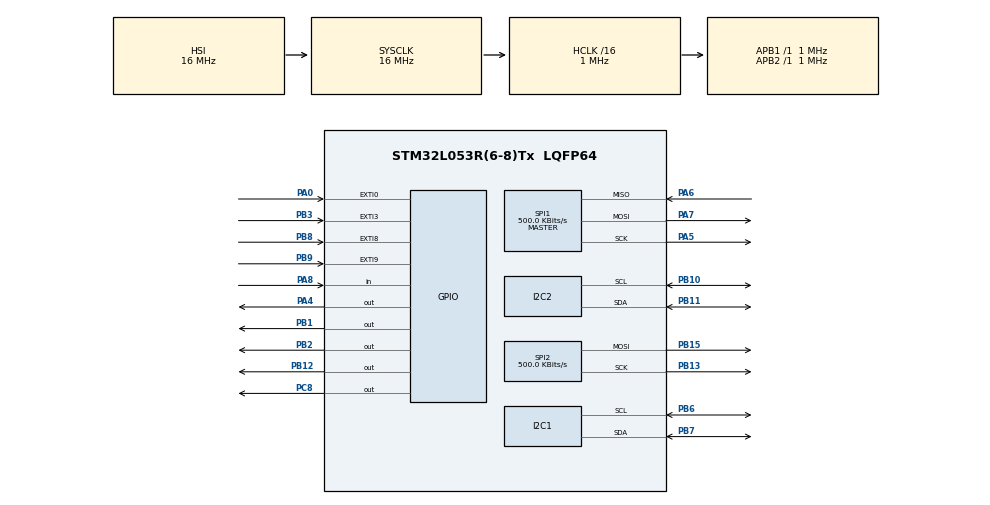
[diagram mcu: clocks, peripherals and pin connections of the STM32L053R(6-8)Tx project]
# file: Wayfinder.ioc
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I2C1.Timing=0x00000103
I2C2.Timing=0x00000103
Mcu.Family=STM32L0
Mcu.Name=STM32L053R(6-8)Tx
Mcu.Package=LQFP64
NVIC.EXTI0_1_IRQn=true\:0\:0\:false\:false\:true\:true\:true\:true
NVIC.EXTI2_3_IRQn=true\:0\:0\:false\:false\:true\:true\:true\:true
NVIC.EXTI4_15_IRQn=true\:0\:0\:false\:false\:true\:true\:true\:true
NVIC.RTC_IRQn=true\:0\:0\:false\:false\:true\:true\:true\:true
PA0.GPIO_ModeDefaultEXTI=GPIO_MODE_IT_FALLING
PA0.GPIO_PuPd=GPIO_PULLUP
PA0.Signal=GPXTI0
PA13.GPIO_Label=TMS
PA13.Mode=Serial_Wire
PA13.Signal=SYS_SWDIO
PA14.GPIO_Label=TCK
PA14.Mode=Serial_Wire
PA14.Signal=SYS_SWCLK
PA2.GPIO_Label=USART_TX
PA2.Signal=USART2_TX
PA3.GPIO_Label=USART_RX
PA3.Signal=USART2_RX
PA4.PinState=GPIO_PIN_SET
PA4.Signal=GPIO_Output
PA5.Mode=Full_Duplex_Master
PA5.Signal=SPI1_SCK
PA6.Mode=Full_Duplex_Master
PA6.Signal=SPI1_MISO
PA7.Mode=Full_Duplex_Master
PA7.Signal=SPI1_MOSI
PA8.GPIO_PuPd=GPIO_PULLUP
PA8.Signal=GPIO_Input
PB1.Signal=GPIO_Output
PB10.GPIO_Pu=GPIO_NOPULL
PB10.Mode=I2C
PB10.Signal=I2C2_SCL
PB11.GPIO_Pu=GPIO_NOPULL
PB11.Mode=I2C
PB11.Signal=I2C2_SDA
PB12.Signal=GPIO_Output
PB13.Mode=TX_Only_Simplex_Unidirect_Master
PB13.Signal=SPI2_SCK
PB15.Mode=TX_Only_Simplex_Unidirect_Master
PB15.Signal=SPI2_MOSI
PB2.Signal=GPIO_Output
PB3.GPIO_ModeDefaultEXTI=GPIO_MODE_IT_FALLING
PB3.GPIO_PuPd=GPIO_PULLUP
PB3.Signal=GPXTI3
PB6.Mode=I2C
PB6.Signal=I2C1_SCL
PB7.Mode=I2C
PB7.Signal=I2C1_SDA
PB8.GPIO_ModeDefaultEXTI=GPIO_MODE_IT_FALLING
PB8.GPIO_PuPd=GPIO_PULLUP
PB8.Signal=GPXTI8
PB9.GPIO_ModeDefaultEXTI=GPIO_MODE_IT_FALLING
PB9.GPIO_PuPd=GPIO_PULLUP
PB9.Signal=GPXTI9
PC13.Signal=RTC_TS
PC14-OSC32_IN.Mode=LSE-External-Oscillator
PC14-OSC32_IN.Signal=RCC_OSC32_IN
PC15-OSC32_OUT.Mode=LSE-External-Oscillator
PC15-OSC32_OUT.Signal=RCC_OSC32_OUT
PC8.Signal=GPIO_Output
PH0-OSC_IN.Signal=RCC_OSC_IN
PH1-OSC_OUT.Signal=RCC_OSC_OUT
ProjectManager.HeapSize=0x200
ProjectManager.StackSize=0x400
ProjectManager.TargetToolchain=STM32CubeIDE
RCC.AHBCLKDivider=RCC_SYSCLK_DIV16
RCC.AHBFreq_Value=1000000
RCC.APB1Freq_Value=1000000
RCC.APB1TimFreq_Value=1000000
RCC.APB2Freq_Value=1000000
RCC.APB2TimFreq_Value=1000000
RCC.HCLKFreq_Value=1000000
RCC.HSE_VALUE=8000000
RCC.HSI16_VALUE=16000000
RCC.HSI48_VALUE=48000000
RCC.HSI_VALUE=16000000
RCC.MSI_VALUE=2097000
RCC.RTCClockSelectionVirtual=RCC_RTCCLKSOURCE_LSE
RCC.SYSCLKFreq_VALUE=16000000
RCC.SYSCLKSource=RCC_SYSCLKSOURCE_HSI
RCC.VCOOutputFreq_Value=48000000
RTC.WakeUpClock-WakeUp=RTC_WAKEUPCLOCK_CK_SPRE_16BITS
SPI1.CalculateBaudRate=500.0 KBits/s
SPI1.Direction=SPI_DIRECTION_2LINES
SPI1.Mode=SPI_MODE_MASTER
SPI1.VirtualType=VM_MASTER
SPI2.CalculateBaudRate=500.0 KBits/s
SPI2.Direction=SPI_DIRECTION_2LINES
SPI2.Mode=SPI_MODE_MASTER
SPI2.VirtualType=VM_MASTER
STMicroelectronics.X-CUBE-MEMS1.11.3.0.BoardOoPartJjPressTempJjLPS22HH=SPI
STMicroelectronics.X-CUBE-MEMS1.11.3.0.BoardOoPartJjTempJjSTTS22H=I2C
VP_RTC_VS_RTC_Activate.Mode=RTC_Enabled
VP_RTC_VS_RTC_Calendar.Mode=RTC_Calendar
VP_RTC_VS_RTC_WakeUp_intern.Mode=WakeUp
VP_STMicroelectronics.X-CUBE-MEMS1_VS_BoardOoPartJjPressTemp_5.7.0_11.3.0.Mode=BoardOoPartJjPressTemp
VP_STMicroelectronics.X-CUBE-MEMS1_VS_BoardOoPartJjTemp_1.5.0_11.3.0.Mode=BoardOoPartJjTemp
board=NUCLEO-L053R8

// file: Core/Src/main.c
/* USER CODE BEGIN Header */
/**
  ******************************************************************************
  * @file           : main.c
  * @brief          : Main program body
  ******************************************************************************
  * @attention
  *
  * Copyright (c) 2025 STMicroelectronics.
  * All rights reserved.
  *
  * This software is licensed under terms that can be found in the LICENSE file
  * in the root directory of this software component.
  * If no LICENSE file comes with this software, it is provided AS-IS.
  *
  ******************************************************************************
  */
/* USER CODE END Header */
#include "main.h"

/* USER CODE BEGIN PTD */
typedef struct {
	uint8_t hours;
	uint8_t minutes;
	uint8_t seconds;

	uint8_t day;
	uint8_t month;
	uint16_t year;
} DateTime_t;

typedef enum {
	OFF,
	SET_TIME,
	CALIBRATION,
	TIME,
	COMPASS,
	INCLINE,
	PRESSURE,
	TEMPERATURE,
} Interface_State_t;

typedef enum {
	EDIT_MONTH,
	EDIT_DAY,
	EDIT_YEAR,
    EDIT_HOUR,
    EDIT_MINUTE,
    EDIT_SECOND,
} TimeEditField_t;

typedef enum {
	TEMPERATURE_FIELD,
	MAGNETOMETER_FIELD,
	ACCELEROMETER_FIELD,
	PRESSURE_FIELD,
} CalibrationEditField_t;

/* USER CODE END PTD */

I2C_HandleTypeDef hi2c1;
I2C_HandleTypeDef hi2c2;

RTC_HandleTypeDef hrtc;

SPI_HandleTypeDef hspi1;
SPI_HandleTypeDef hspi2;

/* USER CODE BEGIN PV */
static volatile uint32_t last_pa0_ms = 0;
static volatile uint32_t last_pb9_ms = 0;
static volatile uint32_t last_pb8_ms = 0;
static volatile uint32_t last_pb3_ms = 0;

C6DOFIMU13_HandleTypeDef h6dof;

LPS22HH_Object_t lps22hh;
STTS22H_Object_t stts22h;
bool isDisplayOn;

volatile bool rtc_tick_flag;
volatile bool power_button_flag;

Interface_State_t prev_state = SET_TIME;
Interface_State_t interface_state = OFF;

volatile TimeEditField_t time_edit_field = EDIT_MONTH;
DateTime_t edit_time;
float_t edit_temp;
volatile bool ui_dirty = true;
volatile bool edit_time_dirty = false;
volatile bool blink = false;

volatile CalibrationEditField_t calibration_field = TEMPERATURE_FIELD;

float_t mx_off = 16.75f;
float_t my_off = 9.85f;
float_t mz_off = -168.55f;
float_t sx = 73.05;
float_t sy = 70.6;

float_t temperature_offset = 0.0;
float_t magnetometer_offset = 0.0;
float_t accelerometer_offset = 0.0;
float_t pressure_offset = 0.0;

static float_t press_hist[SPARK_W];
static uint8_t press_head = 0;   // next write index
static uint8_t press_count = 0;  // how many valid samples (<= SPARK_W)

static float_t temp_hist[SPARK_W];
static uint8_t temp_head = 0;
static uint8_t temp_count = 0;

static float_t incline_hist[SPARK_W];
static uint8_t incline_head = 0;
static uint8_t incline_count = 0;

static int16_t press_scale_min = 260;
static int16_t press_scale_max = 1260;

static int16_t temp_scale_min = 24;
static int16_t temp_scale_max = 100;

static int16_t incline_scale_min = 0;
static int16_t incline_scale_max = 360;

extern uint8_t displayBuffer[1024];

/* USER CODE END PV */

void SystemClock_Config(void);
static void MX_GPIO_Init(void);
static void MX_I2C1_Init(void);
static void MX_RTC_Init(void);
static void MX_SPI1_Init(void);
static void MX_I2C2_Init(void);
static void MX_SPI2_Init(void);
/* USER CODE BEGIN PFP */
static bool is_leap_year(uint16_t year);
static uint8_t days_in_month(uint8_t month, uint16_t year);
static void clamp_day_to_month(DateTime_t *t);
static void IMU_Init(void);
static void Spark_Fill(float *hist, uint8_t *head, uint8_t *count, float v);
static void Spark_Push(float *hist, uint8_t *head, uint8_t *count, float v);
static void Spark_DrawLine(uint8_t x, uint8_t y, uint8_t w, uint8_t h, Interface_State_t state, const float *hist,uint8_t head, uint8_t count, uint8_t draw_box,uint8_t xstep);
void EnterSetTimeMode(void);
void RTC_GetDateTime(DateTime_t *dt);
HAL_StatusTypeDef RTC_CommitDateTime(const DateTime_t *dt);
void RTC_DisplayDateTime(DateTime_t *dt);
void RTC_DisplayEditDateTime(void);
void RTC_DisplayCalibrate(void);
void NextTimeField(void);
void IncrementTime(void);
void DecrementTime(void);
void AdjustOffset(float_t offset_delta);
void NextCalibrationField(void);
void Draw_Compass(float heading_deg);
void Draw_Incline(float incline_deg);
void ftoa(char* buf, float value, int decimals);
float Calculate_Altitude(float pressure_hpa);
float Celsius_To_Fahrenheit(float celsius_temperature);
/* USER CODE END PFP */

/* USER CODE BEGIN 0 */
static bool is_leap_year(uint16_t year)
{
    return ((year % 4u) == 0u && (year % 100u) != 0u) || ((year % 400u) == 0u);
}

static uint8_t days_in_month(uint8_t month, uint16_t year)
{
    static const uint8_t dim[12] = {31,28,31,30,31,30,31,31,30,31,30,31};
    if (month < 1 || month > 12) return 31;

    if (month == 2 && is_leap_year(year)) return 29;
    return dim[month - 1];
}

static void clamp_day_to_month(DateTime_t *t)
{
    uint8_t maxd = days_in_month(t->month, t->year);
    if (t->day < 1) t->day = 1;
    if (t->day > maxd) t->day = maxd;
}

static void IMU_Init(void) {
	C6DOFIMU13_Init(&h6dof, &hi2c1, C6DOFIMU13_DEV_ADDRESS_ACCEL_GND, C6DOFIMU13_DEV_ADDRESS_MAG);

	C6DOFIMU13_Accel_Init(&h6dof,
	                          C6DOFIMU13_ACCEL_SRTFR_RATE_32,
	                          C6DOFIMU13_ACCEL_OUTCFG_RANGE_16,
	                          C6DOFIMU13_ACCEL_OUTCFG_RES_14);

	C6DOFIMU13_Mag_Init(&h6dof,
	                        C6DOFIMU13_MAG_RES_15_BIT,
	                        C6DOFIMU13_MAG_OP_MODE_CONT,
	                        C6DOFIMU13_MAG_TEMP_MEAS_ON);
}

static void Spark_Fill(float *hist, uint8_t *head, uint8_t *count, float v)
{
    for (uint8_t i = 0; i < SPARK_W; i++) hist[i] = v;
    *head = 0;
    *count = SPARK_W;
}

static void Spark_Push(float *hist, uint8_t *head, uint8_t *count, float v)
{
    hist[*head] = v;
    *head = (uint8_t)((*head + 1u) % SPARK_W);
    if (*count < SPARK_W) (*count)++;
}

static void Spark_DrawLine(uint8_t x, uint8_t y, uint8_t w, uint8_t h, Interface_State_t state, const float *hist, uint8_t head, uint8_t count, uint8_t draw_box,uint8_t xstep)
{
    if (w == 0 || h == 0) return;

    ST7565_fillrect(x, y, w, h, WHITE);
    if (draw_box) ST7565_drawrect(x, y, w, h, BLACK);
    if (count < 2) return;

    // 1) Compute actual data min/max (for expand-only logic)
    float data_min =  1e30f;
    float data_max = -1e30f;

    for (uint8_t i = 0; i < count; i++) {
        uint8_t idx = (uint8_t)((head + SPARK_W - count + i) % SPARK_W);
        float v = hist[idx];
        if (v < data_min) data_min = v;
        if (v > data_max) data_max = v;
    }

    // 2) Pick the right standard range and persistent scale vars
    int16_t std_min_i16, std_max_i16;
    int16_t *scale_min_i16, *scale_max_i16;

    // Expand margin and relax step are in *your units*
    // (keep small; you can tune per-state)
    float expand_margin = 0.0f;
    int16_t relax_step_i16 = 0; // 0 = don't relax toward standard

    switch (state) {
        case PRESSURE:
            std_min_i16   = 260;
            std_max_i16   = 1260;
            scale_min_i16 = &press_scale_min;
            scale_max_i16 = &press_scale_max;

            expand_margin = 5.0f;       // e.g. 5 units of whatever your pressure units are
            relax_step_i16 = 0;         // set to 1..5 if you want it to drift back
            break;

        case TEMPERATURE:
            std_min_i16   = -1;
            std_max_i16   = 140;
            scale_min_i16 = &temp_scale_min;
            scale_max_i16 = &temp_scale_max;

            expand_margin = 1.0f;       // 1 degree margin
            relax_step_i16 = 0;
            break;

        default: // INCLINE
            std_min_i16   = 0;
            std_max_i16   = 360;
            scale_min_i16 = &incline_scale_min;
            scale_max_i16 = &incline_scale_max;

            expand_margin = 2.0f;       // a couple degrees
            relax_step_i16 = 0;
            break;
    }

    // 3) Optional relax back toward standard range
    // (Only matters if you allow expansion AND later want to shrink back)
    if (relax_step_i16 > 0) {
        if (*scale_min_i16 < std_min_i16) {
            int16_t next = (int16_t)(*scale_min_i16 + relax_step_i16);
            *scale_min_i16 = (next > std_min_i16) ? std_min_i16 : next;
        } else if (*scale_min_i16 > std_min_i16) {
            int16_t next = (int16_t)(*scale_min_i16 - relax_step_i16);
            *scale_min_i16 = (next < std_min_i16) ? std_min_i16 : next;
        }

        if (*scale_max_i16 < std_max_i16) {
            int16_t next = (int16_t)(*scale_max_i16 + relax_step_i16);
            *scale_max_i16 = (next > std_max_i16) ? std_max_i16 : next;
        } else if (*scale_max_i16 > std_max_i16) {
            int16_t next = (int16_t)(*scale_max_i16 - relax_step_i16);
            *scale_max_i16 = (next < std_max_i16) ? std_max_i16 : next;
        }
    } else {
        // If you want strictly fixed range, just force:
        // *scale_min_i16 = std_min_i16;
        // *scale_max_i16 = std_max_i16;
        //
        // If you want "fixed-unless-exceeded", leave them as-is.
    }

    // 4) Expand-only if exceeded (using data_min/data_max)
    // NOTE: only expand outward; never shrink here.
    /*
    if (data_min < (float)(*scale_min_i16)) {
        float new_min = data_min - expand_margin;
        if (new_min < -32768.0f) new_min = -32768.0f;
        *scale_min_i16 = (int16_t)new_min;
    }
    if (data_max > (float)(*scale_max_i16)) {
        float new_max = data_max + expand_margin;
        if (new_max > 32767.0f) new_max = 32767.0f;
        *scale_max_i16 = (int16_t)new_max;
    }
*/
    // 5) Use persistent scales for plotting (convert to float)
    float vmin = (float)(*scale_min_i16);
    float vmax = (float)(*scale_max_i16);

    float span = vmax - vmin;
    if (span < 1e-6f) span = 1e-6f;

    uint8_t prev_px = x;
    uint8_t prev_py = (uint8_t)(y + (h - 1));

    if (xstep == 0) xstep = 1;

    // How many points can fit so that the LAST point is at x+(w-1)
    uint8_t max_points = (uint8_t)(((w - 1) / xstep) + 1);
    if (max_points < 2) return;

    uint8_t n = count;
    if (n > max_points) n = max_points;
    if (n < 2) return;

    // compute start_x in signed math to avoid uint8 underflow
    int16_t x_span = (int16_t)(n - 1) * (int16_t)xstep;     // 0..(w-1)
    int16_t start_x_i16 = (int16_t)x + ((int16_t)(w - 1) - x_span);

    // clamp just in case
    if (start_x_i16 < (int16_t)x) start_x_i16 = (int16_t)x;
    uint8_t start_x = (uint8_t)start_x_i16;

    for (uint8_t i = 0; i < n; i++) {
        uint8_t src_i = (uint8_t)(count - n + i);
        uint8_t idx = (uint8_t)((head + SPARK_W - count + src_i) % SPARK_W);
        float v = hist[idx];

        // Clamp to range so it always stays inside the box
        if (v < vmin) v = vmin;
        if (v > vmax) v = vmax;

        float t = (v - vmin) / span; // 0..1

        int16_t yy = (int16_t)((float)y + t * (float)(h - 1));

        uint8_t px = (uint8_t)(start_x + (uint8_t)(i * xstep));
        uint8_t py = (yy < y) ? y : (yy >= (y + h) ? (uint8_t)(y + h - 1) : (uint8_t)yy);

        // Clamp px before drawing
        if (px < x) px = x;
        uint8_t right = (uint8_t)(x + w - 1);
        if (px > right) px = right;

        if (i > 0) ST7565_drawline(prev_px, prev_py, px, py, BLACK, 1);

        prev_px = px;
        prev_py = py;
    }
}

void EnterSetTimeMode(void)
{
    RTC_GetDateTime(&edit_time);   // load current RTC time
    time_edit_field = EDIT_MONTH;
    ui_dirty = true;
}

void RTC_GetDateTime(DateTime_t *dt) {
	RTC_TimeTypeDef rtcTime;
	RTC_DateTypeDef rtcDate;

	HAL_RTC_GetTime(&hrtc, &rtcTime, RTC_FORMAT_BIN);
	HAL_RTC_GetDate(&hrtc, &rtcDate, RTC_FORMAT_BIN);

    dt->hours   = rtcTime.Hours;
    dt->minutes = rtcTime.Minutes;
    dt->seconds = rtcTime.Seconds;

    dt->day   = rtcDate.Date;
    dt->month = rtcDate.Month;
    dt->year  = 2000 + rtcDate.Year;
}

HAL_StatusTypeDef RTC_CommitDateTime(const DateTime_t *dt) {
    RTC_TimeTypeDef time = {0};
    RTC_DateTypeDef date = {0};

    time.Hours = dt->hours;
    time.Minutes = dt->minutes;
    time.Seconds = dt->seconds;
    time.DayLightSaving = RTC_DAYLIGHTSAVING_NONE;
    time.StoreOperation = RTC_STOREOPERATION_RESET;

    uint16_t year = dt->year;

    if (year < YEAR_MIN) year = YEAR_MIN;
    if (year > YEAR_MAX) year = YEAR_MAX;

    date.Year = (uint8_t)(year - YEAR_MIN);
    date.Month = dt->month;
    date.Date  = dt->day;
    date.WeekDay = RTC_WEEKDAY_SUNDAY; // Placeholder

    if (HAL_RTC_SetTime(&hrtc, &time, RTC_FORMAT_BIN) != HAL_OK)
        return HAL_ERROR;

    if (HAL_RTC_SetDate(&hrtc, &date, RTC_FORMAT_BIN) != HAL_OK)
        return HAL_ERROR;

    return HAL_OK;
}

void RTC_DisplayDateTime(DateTime_t *dt)
{
    char time_str[16];
    char date_str[16];

    snprintf(time_str, sizeof(time_str), "%02u:%02u:%02u",
             (unsigned)(dt->hours   % 24),
             (unsigned)(dt->minutes % 60),
             (unsigned)(dt->seconds % 60));

    snprintf(date_str, sizeof(date_str), "%02u/%02u/%04u",
             (unsigned)(dt->month % 13),
             (unsigned)(dt->day   % 32),
             (unsigned)dt->year);

    memset(displayBuffer, 0, sizeof(displayBuffer));

    /* ---------- Centering using 6x10 step ---------- */
    uint16_t time_w = (uint16_t)strlen(time_str) * FONT8X13_STEP;
    uint16_t date_w = (uint16_t)strlen(date_str) * FONT8X13_STEP;

    uint8_t time_x = (time_w < LCD_WIDTH) ? (uint8_t)((LCD_WIDTH - time_w) / 2) : 0;
    uint8_t date_x = (date_w < LCD_WIDTH) ? (uint8_t)((LCD_WIDTH - date_w) / 2) : 0;

    uint8_t gap = 8;
    uint8_t block_h = 2 * FONT8X13_H + gap;
    uint8_t top_y   = (LCD_HEIGHT > block_h) ? (uint8_t)((LCD_HEIGHT - block_h) / 2) : 0;

    uint8_t time_y = top_y;
    uint8_t date_y = (uint8_t)(top_y + FONT6X10_H + gap);

    ST7565_drawstring_anywhere_8x13(time_x, time_y, time_str);
    ST7565_drawstring_anywhere_8x13(date_x, date_y, date_str);

    // if you want immediate refresh here:
    // updateDisplay();
}

void RTC_DisplayEditDateTime(void)
{
    char time_str[16];
    char date_str[16];

    snprintf(time_str, sizeof(time_str), "%02u:%02u:%02u",
             (unsigned)(edit_time.hours   % 24),
             (unsigned)(edit_time.minutes % 60),
             (unsigned)(edit_time.seconds % 60));

    snprintf(date_str, sizeof(date_str), "%02u/%02u/%04u",
             (unsigned)edit_time.month,
             (unsigned)edit_time.day,
             (unsigned)edit_time.year);

    const char *prompt = "Set Date/Time";

    memset(displayBuffer, 0, sizeof(displayBuffer));

    /* ---------- Centering (7x12 for ALL text) ---------- */
    uint16_t prompt_w = (uint16_t)strlen(prompt)   * FONT7X12_STEP;
    uint16_t time_w   = (uint16_t)strlen(time_str) * FONT7X12_STEP;
    uint16_t date_w   = (uint16_t)strlen(date_str) * FONT7X12_STEP;

    uint8_t prompt_x = (prompt_w < LCD_WIDTH) ? (uint8_t)((LCD_WIDTH - prompt_w) / 2) : 0;
    uint8_t time_x   = (time_w   < LCD_WIDTH) ? (uint8_t)((LCD_WIDTH - time_w)   / 2) : 0;
    uint8_t date_x   = (date_w   < LCD_WIDTH) ? (uint8_t)((LCD_WIDTH - date_w)   / 2) : 0;

    /* ---------- Spacing control ---------- */
    uint8_t prompt_gap = 10;  // visual gap between title and time
    uint8_t line_gap   = 6;   // gap between time and date

    uint8_t block_h = (uint8_t)(
        FONT7X12_H + prompt_gap +
        FONT7X12_H + line_gap +
        FONT7X12_H
    );

    /* ---------- Inverted Y layout ---------- */
    // Smaller y = visually LOWER
    uint8_t bottom_y = (LCD_HEIGHT > block_h)
                         ? (uint8_t)((LCD_HEIGHT - block_h) / 2)
                         : 0;

    uint8_t time_y   = bottom_y;
    uint8_t date_y   = (uint8_t)(time_y + FONT7X12_H + line_gap);
    uint8_t prompt_y = (uint8_t)(date_y + FONT7X12_H + prompt_gap);

    /* ---------- Draw ---------- */
    ST7565_drawstring_anywhere_7x12(prompt_x, prompt_y, prompt);
    ST7565_drawstring_anywhere_7x12(time_x,   time_y,   time_str);
    ST7565_drawstring_anywhere_7x12(date_x,   date_y,   date_str);

    /* ---------- Underline active field ---------- */
    if (blink) {
        uint8_t ul_x = 0, ul_y = 0, ul_w = 0;

        // Keep original behavior: visually DOWN = SMALLER y
        const uint8_t UL_BELOW_BASELINE = 1;

        uint8_t underline_y_time =
            (time_y > UL_BELOW_BASELINE) ? (uint8_t)(time_y - UL_BELOW_BASELINE) : time_y;

        uint8_t underline_y_date =
            (date_y > UL_BELOW_BASELINE) ? (uint8_t)(date_y - UL_BELOW_BASELINE) : date_y;

        switch (time_edit_field) {
        case EDIT_MONTH:
            ul_x = (uint8_t)(date_x + 0 * FONT7X12_STEP);
            ul_y = underline_y_date;
            ul_w = (uint8_t)(2 * FONT7X12_STEP);
            break;

        case EDIT_DAY:
            ul_x = (uint8_t)(date_x + 3 * FONT7X12_STEP);
            ul_y = underline_y_date;
            ul_w = (uint8_t)(2 * FONT7X12_STEP);
            break;

        case EDIT_YEAR:
            ul_x = (uint8_t)(date_x + 6 * FONT7X12_STEP);
            ul_y = underline_y_date;
            ul_w = (uint8_t)(4 * FONT7X12_STEP);
            break;

        case EDIT_HOUR:
            ul_x = (uint8_t)(time_x + 0 * FONT7X12_STEP);
            ul_y = underline_y_time;
            ul_w = (uint8_t)(2 * FONT7X12_STEP);
            break;

        case EDIT_MINUTE:
            ul_x = (uint8_t)(time_x + 3 * FONT7X12_STEP);
            ul_y = underline_y_time;
            ul_w = (uint8_t)(2 * FONT7X12_STEP);
            break;

        case EDIT_SECOND:
            ul_x = (uint8_t)(time_x + 6 * FONT7X12_STEP);
            ul_y = underline_y_time;
            ul_w = (uint8_t)(2 * FONT7X12_STEP);
            break;

        default:
            break;
        }

        if (ul_w > 0) {
            ST7565_drawline(
                ul_x,
                ul_y,
                (uint8_t)(ul_x + ul_w - 1),
                ul_y,
                BLACK,
                1
            );
        }
    }

    // updateDisplay(); // call if needed
}

void RTC_DisplayCalibrate(void)
{
    const char *title = "Calibration";

    const char *labels[4] = {
        "Temp.",
        "Compass",
        "Incline",
        "Press."
    };

    char vals[4][20]; // right-side strings (NO UNITS)

    // Build right-side strings
    {
        char tmp[20];

        ftoa(tmp, temperature_offset, 2);
        snprintf(vals[0], sizeof(vals[0]), "%s%cF", tmp, (char)DEGREE_CHAR);

        ftoa(tmp, magnetometer_offset, 2);
        snprintf(vals[1], sizeof(vals[1]), "%s%c ", tmp, (char)DEGREE_CHAR);

        ftoa(tmp, accelerometer_offset, 2);
        snprintf(vals[2], sizeof(vals[2]), "%s%c ", tmp, (char)DEGREE_CHAR);

        ftoa(tmp, pressure_offset, 2);
        snprintf(vals[3], sizeof(vals[3]), "%shPa", tmp);
    }

    memset(displayBuffer, 0, sizeof(displayBuffer));

    /* ---------- Layout ---------- */
    // Title SAME size as menu rows
    const uint8_t TITLE_H   = FONT7X12_H;
    const uint8_t TITLE_STEP= FONT7X12_STEP;

    const uint8_t ROW_H     = FONT7X12_H;
    const uint8_t ROW_STEP  = FONT7X12_STEP;

    const uint8_t LEFT_MARGIN  = 0;
    const uint8_t RIGHT_MARGIN = 30;

    const uint8_t split_x = 72; // prevent value/label collision

    // Title centered (7x12)
    uint16_t title_w = (uint16_t)strlen(title) * (uint16_t)TITLE_STEP;
    uint8_t  title_x = (title_w < LCD_WIDTH) ? (uint8_t)((LCD_WIDTH - title_w) / 2) : 0;

    // --------- IMPORTANT: your Y is visually inverted ---------
    // Bigger y appears higher on the screen.
    const uint8_t top_gap = 2;

    // Choose a row gap that fits
    uint8_t row_gap = 2;
    {
        uint8_t needed = (uint8_t)(TITLE_H + top_gap + 4 * ROW_H);
        if (LCD_HEIGHT > needed) {
            uint8_t leftover = (uint8_t)(LCD_HEIGHT - needed);
            row_gap = (uint8_t)(leftover / 3);
            if (row_gap > 10) row_gap = 10;
        }
    }

    // Title at top visually (large y in your coords)
    int16_t title_y_i16 = (int16_t)LCD_HEIGHT - (int16_t)TITLE_H;
    if (title_y_i16 < 0) title_y_i16 = 0;
    uint8_t title_y = (uint8_t)title_y_i16;

    // First menu row just below title visually => smaller y
    int16_t row0_y_i16 = (int16_t)title_y - (int16_t)top_gap - (int16_t)ROW_H;
    if (row0_y_i16 < 0) row0_y_i16 = 0;

    // Rows go downward visually => keep subtracting (smaller y)
    uint8_t row_y[4];
    for (uint8_t i = 0; i < 4; i++) {
        int16_t yi = row0_y_i16 - (int16_t)i * (int16_t)(ROW_H + row_gap);
        if (yi < 0) yi = 0;
        row_y[i] = (uint8_t)yi;
    }

    /* ---------- Draw ---------- */
    ST7565_drawstring_anywhere_7x12(title_x, title_y, title);

    for (uint8_t i = 0; i < 4; i++) {
        ST7565_drawstring_anywhere_7x12(LEFT_MARGIN, row_y[i], labels[i]);

        uint16_t vw = (uint16_t)strlen(vals[i]) * (uint16_t)ROW_STEP;
        int16_t vx  = (int16_t)LCD_WIDTH - (int16_t)vw - RIGHT_MARGIN;
        if (vx < split_x) vx = split_x;

        ST7565_drawstring_anywhere_7x12((uint8_t)vx, row_y[i], vals[i]);
    }

    /* ---------- Underline selected VALUE (your original behavior) ---------- */
    if (blink) {
        uint8_t idx = (calibration_field < 4) ? calibration_field : 0;

        const uint8_t UL_BELOW_BASELINE = 1;
        uint8_t ul_y = (row_y[idx] > UL_BELOW_BASELINE)
                         ? (uint8_t)(row_y[idx] - UL_BELOW_BASELINE)
                         : row_y[idx];

        uint16_t vw = (uint16_t)strlen(vals[idx]) * (uint16_t)ROW_STEP;
        int16_t vx  = (int16_t)LCD_WIDTH - (int16_t)vw - RIGHT_MARGIN;
        if (vx < split_x) vx = split_x;

        if (vw > 0 && vw < 255) {
            ST7565_drawline(
                (uint8_t)vx,
                ul_y,
                (uint8_t)((uint8_t)vx + (uint8_t)vw - 1),
                ul_y,
                BLACK,
                1
            );
        }
    }
}

void NextTimeField(void) {
    if (time_edit_field == EDIT_SECOND)
        time_edit_field = EDIT_MONTH;
    else
        time_edit_field++;

    ui_dirty = true;
}

void IncrementTime(void) {
    switch (time_edit_field) {

    case EDIT_MONTH:
        edit_time.month++;
        if (edit_time.month > 12)
            edit_time.month = 1;

        clamp_day_to_month(&edit_time);
        break;

    case EDIT_DAY:
    {
        uint8_t maxd = days_in_month(edit_time.month, edit_time.year);
        edit_time.day++;
        if (edit_time.day > maxd)
            edit_time.day = 1;
    }
    break;

    case EDIT_YEAR:
        edit_time.year = (edit_time.year >= YEAR_MAX) ? YEAR_MIN : (edit_time.year + 1);
        clamp_day_to_month((DateTime_t *)&edit_time);
        break;

    case EDIT_HOUR:
        edit_time.hours = (edit_time.hours + 1) % 24;
        break;

    case EDIT_MINUTE:
        edit_time.minutes = (edit_time.minutes + 1) % 60;
        break;

    case EDIT_SECOND:
        edit_time.seconds = (edit_time.seconds + 1) % 60;
        break;
    }
    edit_time_dirty = true;
    ui_dirty = true;
}

void DecrementTime(void) {
	switch (time_edit_field) {

	case EDIT_MONTH:
	    if (edit_time.month <= 1)
	        edit_time.month = 12;
	    else
	        edit_time.month--;

	    clamp_day_to_month(&edit_time);
	    break;

    case EDIT_DAY: {
        uint8_t maxd = days_in_month(edit_time.month, edit_time.year);
        edit_time.day = (edit_time.day <= 1) ? maxd : (edit_time.day - 1);
        break;
    }

    case EDIT_YEAR:
        edit_time.year = (edit_time.year <= YEAR_MIN) ? YEAR_MAX : (edit_time.year - 1);
        clamp_day_to_month((DateTime_t *)&edit_time);
        break;

	case EDIT_HOUR:
	    edit_time.hours = (edit_time.hours == 0) ? 23 : edit_time.hours - 1;
	    break;

	case EDIT_MINUTE:
	    edit_time.minutes = (edit_time.minutes == 0) ? 59 : edit_time.minutes - 1;
	    break;

	case EDIT_SECOND:
	    edit_time.seconds = (edit_time.seconds == 0) ? 59 : edit_time.seconds - 1;
	    break;
    }

    edit_time_dirty = true;
    ui_dirty = true;
}

void AdjustOffset(float_t offset_delta) {
	switch (calibration_field) {

	case TEMPERATURE_FIELD:
		temperature_offset += offset_delta;
		break;

	case MAGNETOMETER_FIELD:
		magnetometer_offset += offset_delta;
		break;

	case ACCELEROMETER_FIELD:
		accelerometer_offset += offset_delta;
		break;

	case PRESSURE_FIELD:
		pressure_offset += offset_delta;
		break;
	}
}

void NextCalibrationField(void) {
	calibration_field++;
	if (calibration_field >= 4) calibration_field = TEMPERATURE_FIELD;
}

void Draw_Compass(float heading_deg)
{
    // --- Layout: compass above, text below ---
    const uint8_t text_h   = 14;  // 7x12 font (12px) + spacing
    const uint8_t top_h    = (LCD_HEIGHT > text_h) ? (LCD_HEIGHT - text_h) : LCD_HEIGHT;

    // Center compass in the top region
    const uint8_t cx = (uint8_t)(LCD_WIDTH / 2);
    const uint8_t cy = (uint8_t)(top_h / 2);

    // Radius must fit inside top region (and screen width)
    uint8_t r = 15;
    if (cy > 1 && r > (uint8_t)(cy - 1)) r = (uint8_t)(cy - 1);
    // also avoid left/right clipping (very conservative)
    if (cx > 1 && r > (uint8_t)(cx - 1)) r = (uint8_t)(cx - 1);

    // Draw outer circle
    ST7565_drawcircle(cx, cy, r, BLACK);

    // Cardinal letters (assumes your stated Y-UP convention)
    ST7565_drawchar_anywhere(cx - 2,        cy + r + 1,  'N');  // above
    ST7565_drawchar_anywhere(cx + r + 3,    cy - 3,      'E');  // right
    ST7565_drawchar_anywhere(cx - 2,        cy - r - 9,  'S');  // below
    ST7565_drawchar_anywhere(cx - r - 9,    cy - 3,      'W');  // left

    // Needle math (0° points North)
    float angle = heading_deg * (3.14159265f / 180.0f);

    float fx = (float)cx + (float)r * sinf(angle);
    float fy = (float)cy + (float)r * cosf(angle);   // Y-UP as you wrote

    uint8_t x1 = (uint8_t)(fx + 0.5f);
    uint8_t y1 = (uint8_t)(fy + 0.5f);

    ST7565_drawline(cx, cy, x1, y1, BLACK, 2);

    // --- Heading text below the compass ---
    char degree_string[8];
    ftoa(degree_string, heading_deg, 1);

    char buff[16];
    snprintf(buff, sizeof(buff), "%s%c", degree_string, (char)DEGREE_CHAR);

    // Center the 7x12 text on the bottom row area.
    // 7px/char approx; adjust if your font differs.
    uint8_t text_w = (uint8_t)(strlen(buff) * 7);
    uint8_t tx = (text_w < LCD_WIDTH) ? (uint8_t)((LCD_WIDTH - text_w) / 2) : 0;
    uint8_t ty = (uint8_t)(LCD_HEIGHT - 12); // last 12px tall band

    ST7565_drawstring_anywhere_7x12(tx, ty, buff);
}

void Draw_Incline(float incline_deg)
{
    // --- Layout: indicator above, text below ---
    const uint8_t text_h   = 14;
    const uint8_t top_h    = (LCD_HEIGHT > text_h) ? (LCD_HEIGHT - text_h) : LCD_HEIGHT;

    const uint8_t cx = (uint8_t)(LCD_WIDTH / 2);
    const uint8_t cy = (uint8_t)(top_h / 2);

    uint8_t r = 15;
    if (cy > 1 && r > (uint8_t)(cy - 1)) r = (uint8_t)(cy - 1);
    if (cx > 1 && r > (uint8_t)(cx - 1)) r = (uint8_t)(cx - 1);

    // Draw reference circle (same as compass)
    ST7565_drawcircle(cx, cy, r, BLACK);

    // Draw horizontal reference line (0°)
    ST7565_drawline(cx - r, cy, cx + r, cy, BLACK, 1);

    // Clamp incline
    if (incline_deg < 0.0f)  incline_deg = 0.0f;
    if (incline_deg > 90.0f) incline_deg = 90.0f;

    // Same math style as compass
    float angle = incline_deg * (3.14159265f / 180.0f);

    // 0° = horizontal, 90° = vertical up
    float fx = (float)cx + (float)r * cosf(angle);
    float fy = (float)cy + (float)r * sinf(angle);

    uint8_t x1 = (uint8_t)(fx + 0.5f);
    uint8_t y1 = (uint8_t)(fy + 0.5f);

    ST7565_drawline(cx, cy, x1, y1, BLACK, 2);

    // --- Incline text below ---
    char degree_string[8];
    ftoa(degree_string, incline_deg, 1);

    char buff[16];
    snprintf(buff, sizeof(buff), "%s%c", degree_string, (char)DEGREE_CHAR);

    uint8_t text_w = (uint8_t)(strlen(buff) * 7);
    uint8_t tx = (text_w < LCD_WIDTH) ? (uint8_t)((LCD_WIDTH - text_w) / 2) : 0;
    uint8_t ty = (uint8_t)(LCD_HEIGHT - 12);

    ST7565_drawstring_anywhere_7x12(tx, ty, buff);
}

// Convert float to string with fixed number of decimals
// Example: ftoa(buf, 3.14159f, 3) → "3.142"
void ftoa(char *buf, float value, int decimals)
{
    // Handle negative numbers
    if (value < 0) {
        *buf++ = '-';
        value = -value;
    }

    // Extract integer part
    int int_part = (int)value;

    // Extract fractional part
    float remainder = value - (float)int_part;

    // Scale fractional part
    int scale = 1;
    for (int i = 0; i < decimals; i++)
        scale *= 10;

    int frac_part = (int)(remainder * scale + 0.5f);  // round correctly

    // Convert integer part
    sprintf(buf, "%d", int_part);   // uses ONLY %d → no float printf

    // Move buffer to end
    while (*buf != '\0') buf++;

    if (decimals > 0) {
        *buf++ = '.';

        // Zero padding for fractional part
        int pad = scale / 10;
        while (pad > 1 && frac_part < pad) {
            *buf++ = '0';
            pad /= 10;
        }

        // Convert fractional part
        sprintf(buf, "%d", frac_part);  // still only %d
    }
}

float Calculate_Altitude(float pressure_hpa) {
	float base = pressure_hpa / 1013.25;
	float exp = 0.190284;
	return (1 - pow(base, exp)) * 145366.45;
}

float Celsius_To_Fahrenheit(float celsius_temperature) {
	return celsius_temperature * 1.8 + 32;
}

/* USER CODE END 0 */

int main(void)
{

  /* MCU Configuration--------------------------------------------------------*/

  /* Reset of all peripherals, Initializes the Flash interface and the Systick. */
  HAL_Init();

  /* Configure the system clock */
  SystemClock_Config();

  /* Initialize all configured peripherals */
  MX_GPIO_Init();
  MX_I2C1_Init();
  MX_RTC_Init();
  MX_SPI1_Init();
  MX_I2C2_Init();
  MX_SPI2_Init();
  /* USER CODE BEGIN 2 */

  // MC6470 Init
  IMU_Init();

  // LPS22HH Init
  const float_t lps22h_odr = 1.0f;
  int32_t lps22hh_status = LPS22HH_OK;

  do {
	  if (LPS22HH_BusIO_Register_SPI(&lps22hh) != LPS22HH_OK) break;
	  if ((lps22hh_status = LPS22HH_Init(&lps22hh)) != LPS22HH_OK) break;
      if ((lps22hh_status = LPS22HH_TEMP_Disable(&lps22hh)) != LPS22HH_OK) break;
      if ((lps22hh_status = LPS22HH_PRESS_Enable(&lps22hh)) != LPS22HH_OK) break;
      if ((lps22hh_status = LPS22HH_PRESS_SetOutputDataRate(&lps22hh, lps22h_odr)) != LPS22HH_OK) break;
  } while (0);

  // STTS22H Init
  const float_t stts22h_odr = 1.0f;
  int32_t stts22h_status = STTS22H_OK;

  do {
      if ((stts22h_status = STTS22H_BusIO_Register_I2C(&stts22h)) != STTS22H_OK) break;
      if ((stts22h_status = STTS22H_Init(&stts22h)) != STTS22H_OK) break;
      if ((stts22h_status = STTS22H_TEMP_Enable(&stts22h)) != STTS22H_OK) break;
      if ((stts22h_status = STTS22H_TEMP_SetOutputDataRate(&stts22h, stts22h_odr)) != STTS22H_OK) break;
  } while (0);

  // LCD Init
  ST7565_init();
  ST7565_command(CMD_DISPLAY_OFF);
  ST7565_clear();
  updateDisplay();
  isDisplayOn = false;

  /* USER CODE END 2 */

  /* Infinite loop */
  /* USER CODE BEGIN WHILE */
  while (1)
  {
      /* ---------- Power button handling ---------- */
	  if (power_button_flag) {
	      power_button_flag = 0;

	      if (interface_state == OFF) {
	          // Turn display on and go to a real screen
	    	  ST7565_on();
	    	  isDisplayOn = true;

	          interface_state = TIME;
	          ui_dirty = true;
	      } else {
	          // Turn display off and enter OFF state
	    	  ST7565_off();
	    	  isDisplayOn = false;

	          prev_state = interface_state;  // remember where we were
	          interface_state = OFF;
	          ui_dirty = false;              // no need to redraw while off
	      }
	  }

      /* ---------- 1 Hz tick handling (NO drawing here) ---------- */
      if (rtc_tick_flag) {
          rtc_tick_flag = 0;

          blink = !blink;

          // Refresh screens that need periodic updates
          if (interface_state == TIME) {
              ui_dirty = true;               // update time once per second
          } else if (interface_state == SET_TIME || interface_state == CALIBRATION) {
              ui_dirty = true;               // blink underline/cursor
          }
          else if (interface_state == PRESSURE || interface_state == TEMPERATURE) ui_dirty = true;
      }

      static uint32_t next_compass_ms = 0;
      static uint32_t next_incline_ms = 0;

      if (interface_state == COMPASS)
      {
          uint32_t now = HAL_GetTick();

          // initialize on first entry (or if it was 0)
          if (next_compass_ms == 0) next_compass_ms = now;

          if ((int32_t)(now - next_compass_ms) >= 0)
          {
              next_compass_ms += COMPASS_PERIOD_MS;
              ui_dirty = true;  // triggers COMPASS redraw at ~20 Hz
          }
      } else if (interface_state == INCLINE) {
    	    uint32_t now = HAL_GetTick();
    	    if (next_incline_ms == 0) next_incline_ms = now;

    	    if ((int32_t)(now - next_incline_ms) >= 0)
    	    {
    	        next_incline_ms += INCLINE_PERIOD_MS;
    	        ui_dirty = true;
    	    }
      }
      else if (interface_state != OFF)
      {
          // reset so when you re-enter COMPASS it updates immediately
          next_compass_ms = 0;
          next_incline_ms = 0;
      }

      /* ---------- Draw only when dirty ---------- */
      if (ui_dirty) {
          ui_dirty = false;

          switch (interface_state) {

          case SET_TIME:
              // RTC_DisplayEditDateTime() should only draw to displayBuffer.
              // If you want blink control, have it use the global 'blink' flag.
              RTC_DisplayEditDateTime();
              updateDisplay();
              break;

          case TIME: {
              DateTime_t now;
              RTC_GetDateTime(&now);

              // RTC_DisplayDateTime() should only draw to displayBuffer.
              RTC_DisplayDateTime(&now);
              updateDisplay();
              break;
          }

          case PRESSURE: {
        	  char pressure_display_string[37];
        	  float_t pressure;

        	  if (LPS22HH_PRESS_GetPressure(&lps22hh, &pressure) == LPS22HH_OK) {
        		  float v = pressure + pressure_offset;

        		  if (press_count == 0) {
        		        // Prefill so the sparkline is immediately fully drawn (flat line)
        		        Spark_Fill(press_hist, &press_head, &press_count, v);
        		  }

        		  Spark_Push(press_hist, &press_head, &press_count, v);
        	      char pressure_string[20];
        	      ftoa(pressure_string, pressure + pressure_offset, 2); // e.g. "1013.25"

        	      snprintf(pressure_display_string, sizeof(pressure_display_string),
        	               "%s HPa", pressure_string);
        	  } else {
        	      snprintf(pressure_display_string, sizeof(pressure_display_string),
        	               "Pressure Failure");
        	  }

              memset(displayBuffer, 0, sizeof(displayBuffer));
              ST7565_drawstring_anywhere_7x12(
                  (LCD_WIDTH - strlen(pressure_display_string) * 7) / 2,
                  LCD_HEIGHT - 16,
                  pressure_display_string
              );

              Spark_DrawLine(0, 0, SPARK_W, SPARK_H, PRESSURE, press_hist, press_head, press_count, 1, 8);

              updateDisplay();
              break;
          }

          case CALIBRATION: {
        	  RTC_DisplayCalibrate();
        	  updateDisplay();
        	  break;
          }

          case TEMPERATURE: {
        	  char temperature_display_string[38];
        	  float temperature;

        	  if (STTS22H_TEMP_GetTemperature(&stts22h, &temperature) == STTS22H_OK) {
        		  temperature = Celsius_To_Fahrenheit(temperature);
        		  float v = temperature + temperature_offset;

        		  if (temp_count == 0) {
        			  // Prefill so the sparkline is immediately fully drawn (flat line)
        			  Spark_Fill(temp_hist, &temp_head, &temp_count, v);
        		  }

        	      Spark_Push(temp_hist, &temp_head, &temp_count, v);
        	      char temperature_string[20];
        	      ftoa(temperature_string, temperature + temperature_offset, 2);   // e.g. "23.45"

        	      snprintf(temperature_display_string, sizeof(temperature_display_string),
        	               "%s%cF", temperature_string, (char)DEGREE_CHAR);
        	  } else {
        	      snprintf(temperature_display_string, sizeof(temperature_display_string),
        	               "Temperature Failure");
        	  }

              memset(displayBuffer, 0, sizeof(displayBuffer));
              ST7565_drawstring_anywhere_7x12(
                  (LCD_WIDTH - strlen(temperature_display_string) * 7) / 2,
                  LCD_HEIGHT - 16,
                  temperature_display_string
              );

              Spark_DrawLine(0, 0, SPARK_W, SPARK_H, TEMPERATURE, temp_hist, temp_head, temp_count, 1, 8);

              updateDisplay();
              break;
          }

          case COMPASS: {
              float ax, ay, az;
              float mx, my, mz;

              memset(displayBuffer, 0, sizeof(displayBuffer));

              if (C6DOFIMU13_Accel_GetXYZ(&h6dof, &ax, &ay, &az) == HAL_OK &&
                  C6DOFIMU13_Mag_GetXYZ(&h6dof, &mx, &my, &mz) == HAL_OK)
              {

                  // Center the horizontal field vector
                  float mx_c = (mx - mx_off);
                  float my_c = (my - my_off);

                  // Heading (using your chosen convention atan2(my, -mx))
                  float heading_rad = atan2f(my_c, mx_c);
                  float heading_deg = heading_rad * (180.0f / 3.14159265f) + magnetometer_offset;

                  if (heading_deg < 0.0f) heading_deg += 360.0f;
                  if (heading_deg >= 360.0f) heading_deg -= 360.0f;

                  // Draw compass into displayBuffer only
                  Draw_Compass(heading_deg);
              }
              else
              {
                  const char *IMU_error = "IMU Failure";
                  ST7565_drawstring_anywhere(
                      (LCD_WIDTH / 2) - ((strlen(IMU_error) / 2) * 6),
                      27,
                      (char*)IMU_error
                  );
              }

              updateDisplay();
              break;
          }

          case INCLINE: {
        	  float ax, ay, az;

        	  memset(displayBuffer, 0, sizeof(displayBuffer));

        	  if (C6DOFIMU13_Accel_GetXYZ(&h6dof, &ax, &ay, &az) == HAL_OK) {
        		  float incline_rad = fabsf(atan2f(ax, sqrtf(ay*ay + az*az)));
        		  float incline_deg = fabsf(incline_rad * (180.0f / 3.14159265f)); // need to add offset still
        		  Draw_Incline(incline_deg);
        	  } else {
                  const char *IMU_error = "IMU Failure";
                  ST7565_drawstring_anywhere(
                      (LCD_WIDTH / 2) - ((strlen(IMU_error) / 2) * 6),
                      27,
                      (char*)IMU_error
                  );
              }

        	  updateDisplay();
        	  break;
          }

          default:
              break;
          }
      }

    /* USER CODE END WHILE */

  }
}

void SystemClock_Config(void)
{
  RCC_OscInitTypeDef RCC_OscInitStruct = {0};
  RCC_ClkInitTypeDef RCC_ClkInitStruct = {0};
  RCC_PeriphCLKInitTypeDef PeriphClkInit = {0};

  /** Configure the main internal regulator output voltage
  */
  __HAL_PWR_VOLTAGESCALING_CONFIG(PWR_REGULATOR_VOLTAGE_SCALE1);

  /** Configure LSE Drive Capability
  */
  HAL_PWR_EnableBkUpAccess();
  __HAL_RCC_LSEDRIVE_CONFIG(RCC_LSEDRIVE_LOW);

  /** Initializes the RCC Oscillators according to the specified parameters
  * in the RCC_OscInitTypeDef structure.
  */
  RCC_OscInitStruct.OscillatorType = RCC_OSCILLATORTYPE_HSI|RCC_OSCILLATORTYPE_LSE;
  RCC_OscInitStruct.LSEState = RCC_LSE_ON;
  RCC_OscInitStruct.HSIState = RCC_HSI_ON;
  RCC_OscInitStruct.HSICalibrationValue = RCC_HSICALIBRATION_DEFAULT;
  RCC_OscInitStruct.PLL.PLLState = RCC_PLL_NONE;
  if (HAL_RCC_OscConfig(&RCC_OscInitStruct) != HAL_OK)
  {
    Error_Handler();
  }

  /** Initializes the CPU, AHB and APB buses clocks
  */
  RCC_ClkInitStruct.ClockType = RCC_CLOCKTYPE_HCLK|RCC_CLOCKTYPE_SYSCLK
                              |RCC_CLOCKTYPE_PCLK1|RCC_CLOCKTYPE_PCLK2;
  RCC_ClkInitStruct.SYSCLKSource = RCC_SYSCLKSOURCE_HSI;
  RCC_ClkInitStruct.AHBCLKDivider = RCC_SYSCLK_DIV16;
  RCC_ClkInitStruct.APB1CLKDivider = RCC_HCLK_DIV1;
  RCC_ClkInitStruct.APB2CLKDivider = RCC_HCLK_DIV1;

  if (HAL_RCC_ClockConfig(&RCC_ClkInitStruct, FLASH_LATENCY_0) != HAL_OK)
  {
    Error_Handler();
  }
  PeriphClkInit.PeriphClockSelection = RCC_PERIPHCLK_I2C1|RCC_PERIPHCLK_RTC;
  PeriphClkInit.I2c1ClockSelection = RCC_I2C1CLKSOURCE_PCLK1;
  PeriphClkInit.RTCClockSelection = RCC_RTCCLKSOURCE_LSE;
  if (HAL_RCCEx_PeriphCLKConfig(&PeriphClkInit) != HAL_OK)
  {
    Error_Handler();
  }
}

static void MX_I2C1_Init(void)
{

  hi2c1.Instance = I2C1;
  hi2c1.Init.Timing = 0x00000103;
  hi2c1.Init.OwnAddress1 = 0;
  hi2c1.Init.AddressingMode = I2C_ADDRESSINGMODE_7BIT;
  hi2c1.Init.DualAddressMode = I2C_DUALADDRESS_DISABLE;
  hi2c1.Init.OwnAddress2 = 0;
  hi2c1.Init.OwnAddress2Masks = I2C_OA2_NOMASK;
  hi2c1.Init.GeneralCallMode = I2C_GENERALCALL_DISABLE;
  hi2c1.Init.NoStretchMode = I2C_NOSTRETCH_DISABLE;
  if (HAL_I2C_Init(&hi2c1) != HAL_OK)
  {
    Error_Handler();
  }

  /** Configure Analogue filter
  */
  if (HAL_I2CEx_ConfigAnalogFilter(&hi2c1, I2C_ANALOGFILTER_ENABLE) != HAL_OK)
  {
    Error_Handler();
  }

  /** Configure Digital filter
  */
  if (HAL_I2CEx_ConfigDigitalFilter(&hi2c1, 0) != HAL_OK)
  {
    Error_Handler();
  }

}

static void MX_I2C2_Init(void)
{

  hi2c2.Instance = I2C2;
  hi2c2.Init.Timing = 0x00000103;
  hi2c2.Init.OwnAddress1 = 0;
  hi2c2.Init.AddressingMode = I2C_ADDRESSINGMODE_7BIT;
  hi2c2.Init.DualAddressMode = I2C_DUALADDRESS_DISABLE;
  hi2c2.Init.OwnAddress2 = 0;
  hi2c2.Init.OwnAddress2Masks = I2C_OA2_NOMASK;
  hi2c2.Init.GeneralCallMode = I2C_GENERALCALL_DISABLE;
  hi2c2.Init.NoStretchMode = I2C_NOSTRETCH_DISABLE;
  if (HAL_I2C_Init(&hi2c2) != HAL_OK)
  {
    Error_Handler();
  }

  /** Configure Analogue filter
  */
  if (HAL_I2CEx_ConfigAnalogFilter(&hi2c2, I2C_ANALOGFILTER_ENABLE) != HAL_OK)
  {
    Error_Handler();
  }

  /** Configure Digital filter
  */
  if (HAL_I2CEx_ConfigDigitalFilter(&hi2c2, 0) != HAL_OK)
  {
    Error_Handler();
  }

}

static void MX_RTC_Init(void)
{

  RTC_TimeTypeDef sTime = {0};
  RTC_DateTypeDef sDate = {0};

  /** Initialize RTC Only
  */
  hrtc.Instance = RTC;
  hrtc.Init.HourFormat = RTC_HOURFORMAT_24;
  hrtc.Init.AsynchPrediv = 127;
  hrtc.Init.SynchPrediv = 255;
  hrtc.Init.OutPut = RTC_OUTPUT_DISABLE;
  hrtc.Init.OutPutRemap = RTC_OUTPUT_REMAP_NONE;
  hrtc.Init.OutPutPolarity = RTC_OUTPUT_POLARITY_HIGH;
  hrtc.Init.OutPutType = RTC_OUTPUT_TYPE_OPENDRAIN;
  if (HAL_RTC_Init(&hrtc) != HAL_OK)
  {
    Error_Handler();
  }

  /** Initialize RTC and set the Time and Date
  */
  sTime.Hours = 0x0;
  sTime.Minutes = 0x0;
  sTime.Seconds = 0x0;
  sTime.DayLightSaving = RTC_DAYLIGHTSAVING_NONE;
  sTime.StoreOperation = RTC_STOREOPERATION_RESET;
  if (HAL_RTC_SetTime(&hrtc, &sTime, RTC_FORMAT_BCD) != HAL_OK)
  {
    Error_Handler();
  }
  sDate.WeekDay = RTC_WEEKDAY_MONDAY;
  sDate.Month = RTC_MONTH_JANUARY;
  sDate.Date = 0x1;
  sDate.Year = 0x0;

  if (HAL_RTC_SetDate(&hrtc, &sDate, RTC_FORMAT_BCD) != HAL_OK)
  {
    Error_Handler();
  }

  /** Enable the WakeUp
  */
  if (HAL_RTCEx_SetWakeUpTimer_IT(&hrtc, 0, RTC_WAKEUPCLOCK_CK_SPRE_16BITS) != HAL_OK)
  {
    Error_Handler();
  }

}

static void MX_SPI1_Init(void)
{

  /* SPI1 parameter configuration*/
  hspi1.Instance = SPI1;
  hspi1.Init.Mode = SPI_MODE_MASTER;
  hspi1.Init.Direction = SPI_DIRECTION_2LINES;
  hspi1.Init.DataSize = SPI_DATASIZE_8BIT;
  hspi1.Init.CLKPolarity = SPI_POLARITY_LOW;
  hspi1.Init.CLKPhase = SPI_PHASE_1EDGE;
  hspi1.Init.NSS = SPI_NSS_SOFT;
  hspi1.Init.BaudRatePrescaler = SPI_BAUDRATEPRESCALER_2;
  hspi1.Init.FirstBit = SPI_FIRSTBIT_MSB;
  hspi1.Init.TIMode = SPI_TIMODE_DISABLE;
  hspi1.Init.CRCCalculation = SPI_CRCCALCULATION_DISABLE;
  hspi1.Init.CRCPolynomial = 7;
  if (HAL_SPI_Init(&hspi1) != HAL_OK)
  {
    Error_Handler();
  }

}

static void MX_SPI2_Init(void)
{

  /* SPI2 parameter configuration*/
  hspi2.Instance = SPI2;
  hspi2.Init.Mode = SPI_MODE_MASTER;
  hspi2.Init.Direction = SPI_DIRECTION_2LINES;
  hspi2.Init.DataSize = SPI_DATASIZE_8BIT;
  hspi2.Init.CLKPolarity = SPI_POLARITY_LOW;
  hspi2.Init.CLKPhase = SPI_PHASE_1EDGE;
  hspi2.Init.NSS = SPI_NSS_SOFT;
  hspi2.Init.BaudRatePrescaler = SPI_BAUDRATEPRESCALER_2;
  hspi2.Init.FirstBit = SPI_FIRSTBIT_MSB;
  hspi2.Init.TIMode = SPI_TIMODE_DISABLE;
  hspi2.Init.CRCCalculation = SPI_CRCCALCULATION_DISABLE;
  hspi2.Init.CRCPolynomial = 7;
  if (HAL_SPI_Init(&hspi2) != HAL_OK)
  {
    Error_Handler();
  }

}

static void MX_GPIO_Init(void)
{
  GPIO_InitTypeDef GPIO_InitStruct = {0};

  /* GPIO Ports Clock Enable */
  __HAL_RCC_GPIOC_CLK_ENABLE();
  __HAL_RCC_GPIOH_CLK_ENABLE();
  __HAL_RCC_GPIOA_CLK_ENABLE();
  __HAL_RCC_GPIOB_CLK_ENABLE();

  /*Configure GPIO pin Output Level */
  HAL_GPIO_WritePin(GPIOA, GPIO_PIN_4, GPIO_PIN_SET);

  /*Configure GPIO pin Output Level */
  HAL_GPIO_WritePin(GPIOB, GPIO_PIN_1|GPIO_PIN_2|GPIO_PIN_12, GPIO_PIN_RESET);

  /*Configure GPIO pin Output Level */
  HAL_GPIO_WritePin(GPIOC, GPIO_PIN_8, GPIO_PIN_RESET);

  /*Configure GPIO pin : PA0 */
  GPIO_InitStruct.Pin = GPIO_PIN_0;
  GPIO_InitStruct.Mode = GPIO_MODE_IT_FALLING;
  GPIO_InitStruct.Pull = GPIO_PULLUP;
  HAL_GPIO_Init(GPIOA, &GPIO_InitStruct);

  /*Configure GPIO pins : USART_TX_Pin USART_RX_Pin */
  GPIO_InitStruct.Pin = USART_TX_Pin|USART_RX_Pin;
  GPIO_InitStruct.Mode = GPIO_MODE_AF_PP;
  GPIO_InitStruct.Pull = GPIO_NOPULL;
  GPIO_InitStruct.Speed = GPIO_SPEED_FREQ_VERY_HIGH;
  GPIO_InitStruct.Alternate = GPIO_AF4_USART2;
  HAL_GPIO_Init(GPIOA, &GPIO_InitStruct);

  /*Configure GPIO pin : PA4 */
  GPIO_InitStruct.Pin = GPIO_PIN_4;
  GPIO_InitStruct.Mode = GPIO_MODE_OUTPUT_PP;
  GPIO_InitStruct.Pull = GPIO_NOPULL;
  GPIO_InitStruct.Speed = GPIO_SPEED_FREQ_LOW;
  HAL_GPIO_Init(GPIOA, &GPIO_InitStruct);

  /*Configure GPIO pins : PB1 PB2 PB12 */
  GPIO_InitStruct.Pin = GPIO_PIN_1|GPIO_PIN_2|GPIO_PIN_12;
  GPIO_InitStruct.Mode = GPIO_MODE_OUTPUT_PP;
  GPIO_InitStruct.Pull = GPIO_NOPULL;
  GPIO_InitStruct.Speed = GPIO_SPEED_FREQ_LOW;
  HAL_GPIO_Init(GPIOB, &GPIO_InitStruct);

  /*Configure GPIO pin : PC8 */
  GPIO_InitStruct.Pin = GPIO_PIN_8;
  GPIO_InitStruct.Mode = GPIO_MODE_OUTPUT_PP;
  GPIO_InitStruct.Pull = GPIO_NOPULL;
  GPIO_InitStruct.Speed = GPIO_SPEED_FREQ_LOW;
  HAL_GPIO_Init(GPIOC, &GPIO_InitStruct);

  /*Configure GPIO pin : PA8 */
  GPIO_InitStruct.Pin = GPIO_PIN_8;
  GPIO_InitStruct.Mode = GPIO_MODE_INPUT;
  GPIO_InitStruct.Pull = GPIO_PULLUP;
  HAL_GPIO_Init(GPIOA, &GPIO_InitStruct);

  /*Configure GPIO pins : PB3 PB8 PB9 */
  GPIO_InitStruct.Pin = GPIO_PIN_3|GPIO_PIN_8|GPIO_PIN_9;
  GPIO_InitStruct.Mode = GPIO_MODE_IT_FALLING;
  GPIO_InitStruct.Pull = GPIO_PULLUP;
  HAL_GPIO_Init(GPIOB, &GPIO_InitStruct);

  /* EXTI interrupt init*/
  HAL_NVIC_SetPriority(EXTI0_1_IRQn, 0, 0);
  HAL_NVIC_EnableIRQ(EXTI0_1_IRQn);

  HAL_NVIC_SetPriority(EXTI2_3_IRQn, 0, 0);
  HAL_NVIC_EnableIRQ(EXTI2_3_IRQn);

  HAL_NVIC_SetPriority(EXTI4_15_IRQn, 0, 0);
  HAL_NVIC_EnableIRQ(EXTI4_15_IRQn);

}

/* USER CODE BEGIN 4 */
void HAL_RTCEx_WakeUpTimerEventCallback(RTC_HandleTypeDef *hrtc) {
	rtc_tick_flag = true;
}

void HAL_GPIO_EXTI_Callback(uint16_t GPIO_Pin)
{
    uint32_t now = HAL_GetTick(); // SysTick ms tick (HAL provides this)

    // If we're OFF, ignore everything except the power button (PA0)
    if (interface_state == OFF && GPIO_Pin != GPIO_PIN_0) {
        return;
    }

    if (GPIO_Pin == GPIO_PIN_0) { // PA0
        if ((uint32_t)(now - last_pa0_ms) < BTN_DEBOUNCE_MS) return;
        last_pa0_ms = now;

        // Optional: confirm it's actually still pressed (active-low)
        if (HAL_GPIO_ReadPin(GPIOA, GPIO_PIN_0) != GPIO_PIN_RESET) return;

        if (interface_state == SET_TIME) {
            RTC_CommitDateTime(&edit_time);
            edit_time_dirty = false;
            interface_state = TIME;
            ui_dirty = true;
        } else if (interface_state == CALIBRATION) {
            interface_state = prev_state;
            ui_dirty = true;
        } else {
            power_button_flag = true;
        }
    }
    else if (GPIO_Pin == GPIO_PIN_9) { // PB9
        if ((uint32_t)(now - last_pb9_ms) < BTN_DEBOUNCE_MS) return;
        last_pb9_ms = now;

        if (HAL_GPIO_ReadPin(GPIOB, GPIO_PIN_9) != GPIO_PIN_RESET) return;

        if (interface_state == SET_TIME) {
            IncrementTime();
        } else if (interface_state == COMPASS) {
            interface_state = CALIBRATION;
            prev_state = COMPASS;
        } else if (interface_state == CALIBRATION) {
            AdjustOffset(0.1);
        } else if (interface_state == TEMPERATURE) {
        	interface_state = PRESSURE;
        	prev_state = TEMPERATURE;
        } else if (interface_state == TIME) {
            interface_state = COMPASS;

        }
    }
    else if (GPIO_Pin == GPIO_PIN_8) { // PB8
        if ((uint32_t)(now - last_pb8_ms) < BTN_DEBOUNCE_MS) return;
        last_pb8_ms = now;

        if (HAL_GPIO_ReadPin(GPIOB, GPIO_PIN_8) != GPIO_PIN_RESET) return;

        if (interface_state == SET_TIME) {
            DecrementTime();
        } else if (interface_state == CALIBRATION) {
            AdjustOffset(-0.1);
        } else if (interface_state == TEMPERATURE) {
            interface_state = CALIBRATION;
            prev_state = TEMPERATURE;
        } else if (interface_state == COMPASS) {
        	interface_state = INCLINE;
        	prev_state = COMPASS;
        	ui_dirty = true;
        } else if (interface_state == TIME) {
            interface_state = TEMPERATURE;
            prev_state = TIME;
        }
    }
    else if (GPIO_Pin == GPIO_PIN_3) { // PB3
        if ((uint32_t)(now - last_pb3_ms) < BTN_DEBOUNCE_MS) return;
        last_pb3_ms = now;

        if (HAL_GPIO_ReadPin(GPIOB, GPIO_PIN_3) != GPIO_PIN_RESET) return;

        switch (interface_state) {
            case SET_TIME:     NextTimeField(); break;
            case COMPASS:      interface_state = TIME; break;
            case TEMPERATURE:  interface_state = TIME; break;
            case PRESSURE:     interface_state = TIME; break;
            case INCLINE:
            	interface_state = COMPASS;
            	ui_dirty = true;
            	break;
            case TIME:
                interface_state = SET_TIME;
                EnterSetTimeMode();
                ui_dirty = true;
                break;
            case CALIBRATION:  NextCalibrationField(); break;
            default: break;
        }
    }
}

/* USER CODE END 4 */

void Error_Handler(void)
{
  __disable_irq();
  while (1)
  {
  }
}
